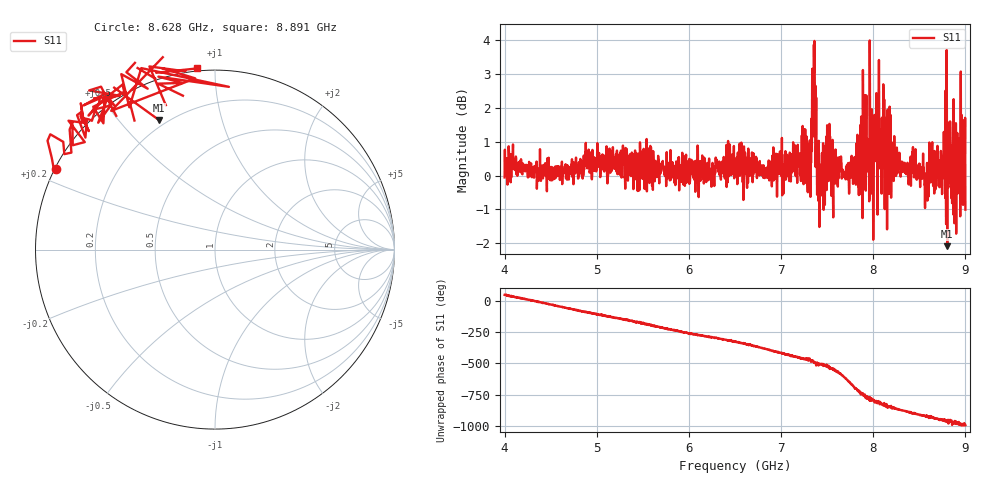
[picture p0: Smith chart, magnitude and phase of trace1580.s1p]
! Created with skrf 1.8.0 (http://scikit-rf.org).
# Hz S RI R 50.0
!freq ReS11 ImS11
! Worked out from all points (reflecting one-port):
!   1601 points, 4 GHz to 9 GHz, reference 50 ohm
!   lowest |S11| = -2.1 dB at 8.803 GHz (marker M1), VSWR 8.36, Z = 8.51 + j32.2 ohm
!   phase of S11 starts at 51 deg and turns -1047 deg over the sweep
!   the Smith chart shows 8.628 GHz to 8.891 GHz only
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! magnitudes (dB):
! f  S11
! 4 GHz  -0.1
! 4.066 GHz  -0.2
! 4.625 GHz  -0.3
! 5.25 GHz  0.0
! 5.875 GHz  0.2
! 6.5 GHz  0.2
! 7.125 GHz  0.2
! 7.25 GHz  -0.1
! 7.303 GHz  -0.3
! 7.356 GHz  3.9
! 7.4 GHz  0.3
! 7.416 GHz  -1.5
! 7.509 GHz  0.3
! 7.562 GHz  -0.2
! 7.75 GHz  -0.1
! 7.859 GHz  1.5
! 7.912 GHz  2.4
! 8.022 GHz  0.5
! 8.038 GHz  1.2
! 8.375 GHz  0.2
! 8.438 GHz  0.7
! 8.581 GHz  -0.2
! 8.631 GHz  -0.1
! 8.803 GHz  -2.1
! 8.819 GHz  0.4
! 8.875 GHz  0.1
! 8.972 GHz  1.0
! 9 GHz  -1.0
